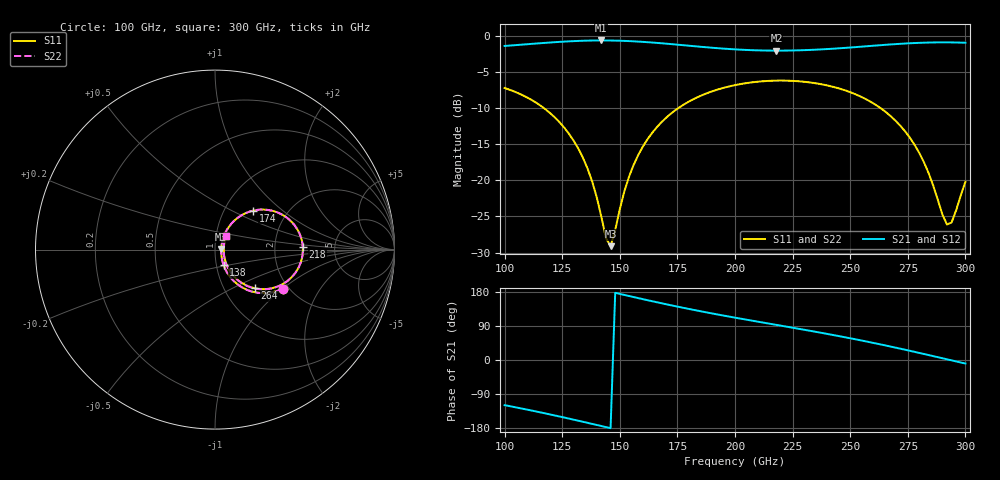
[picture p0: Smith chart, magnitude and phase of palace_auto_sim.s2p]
#  GHZ S DB R 50
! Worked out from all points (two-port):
!   101 points, 100 GHz to 300 GHz, reference 50 ohm
!   highest |S21| = -0.65 dB at 142 GHz (marker M1); lowest = -2.1 dB at 218 GHz (marker M2)
!   |S21| within 3 dB of the highest: start of sweep to end of sweep
!   lowest |S11| = -29.1 dB at 146 GHz (marker M3), VSWR 1.07, Z = 53.6 + j0.365 ohm
!   |S11| at or under -10 dB: 117 GHz to 175.5 GHz (58.45 GHz wide, 40 % of centre); 263.1 GHz to end of sweep
!   |S22| runs from -29.3 to -6.2 dB; largest |S21 - S12| = 1.4e-12
!   S11 on the Smith chart (normalised r, x): 100 GHz: 1.86, -1.00; 138 GHz: 1.08, -0.19; 174 GHz: 1.36, +0.65; 218 GHz: 2.91, +0.12; 264 GHz: 1.39, -0.66; 300 GHz: 1.12, +0.17
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100  -7.23 -29.9  -1.41 -119.2  -1.41 -119.2  -7.23 -30.0
120  -10.77 -51.1  -0.93 -144.0  -0.93 -144.0  -10.77 -51.3
128  -13.59 -58.6  -0.77 -154.7  -0.77 -154.7  -13.59 -58.9
134  -16.88 -62.1  -0.69 -163.0  -0.69 -163.0  -16.88 -62.4
138  -20.15 -60.7  -0.66 -168.6  -0.66 -168.6  -20.17 -61.2
142  -25.06 -48.4  -0.65 -174.3  -0.65 -174.3  -25.12 -49.1
144  -27.99 -28.8  -0.65 -177.1  -0.65 -177.1  -28.13 -29.5
146  -29.11 5.6  -0.66 -179.9  -0.66 -179.9  -29.30 5.6
152  -21.50 55.4  -0.71 171.6  -0.71 171.6  -21.54 55.8
156  -17.87 58.8  -0.77 166.1  -0.77 166.1  -17.88 59.0
168  -11.99 51.4  -1.03 149.9  -1.03 149.9  -11.99 51.4
174  -10.33 45.5  -1.20 142.2  -1.20 142.2  -10.33 45.6
200  -6.83 19.5  -1.88 111.8  -1.88 111.8  -6.83 19.4
218  -6.21 1.9  -2.06 92.6  -2.06 92.6  -6.21 1.8
234  -6.52 -13.9  -1.94 75.5  -1.94 75.5  -6.52 -14.0
250  -7.80 -30.0  -1.62 57.3  -1.62 57.3  -7.80 -30.2
264  -10.20 -44.2  -1.28 40.1  -1.28 40.1  -10.20 -44.4
268  -11.24 -47.9  -1.19 34.9  -1.19 34.9  -11.25 -48.2
280  -16.22 -55.1  -0.98 18.7  -0.98 18.7  -16.23 -55.6
292  -26.12 -9.0  -0.91 1.9  -0.91 1.9  -26.32 -9.4
294  -25.83 15.3  -0.92 -1.0  -0.92 -1.0  -26.03 15.5
300  -20.21 50.0  -0.97 -9.4  -0.97 -9.4  -20.27 50.5
